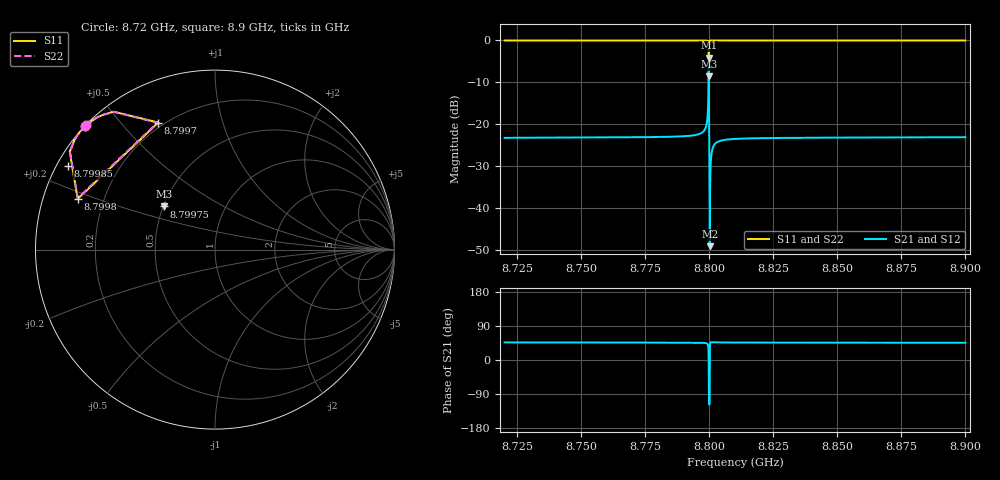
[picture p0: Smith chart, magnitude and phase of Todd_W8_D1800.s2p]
! Sonnet Data File
! From: emgraph Version : 16.52
! From Project: transmon_brgOdd
! Data is De-embedded
! Data File Written: 11/11/2017 22:28:47
!< HDATE 11/11/2017 18:22:48
!< MDATE 11/11/2017 18:22:48
!< PARAMS
!< Lj = 15.24
!< Gap = 6.0
!< Width = 10.0
!< Airgap = 6.0
!< Pwidth = 2000.0
!< Dist = 1800.0
!< END PARAMS
# GHZ S MA R 34.67000
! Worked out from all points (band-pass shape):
!   3601 points, 8.72 GHz to 8.9 GHz, reference 34.67 ohm
!   highest |S21| = -4.10 dB at 8.79975 GHz (marker M1); lowest = -49.2 dB at 8.80015 GHz (marker M2)
!   |S21| within 3 dB of the highest: 8.799697 GHz to 8.799781 GHz (84.34 kHz wide, 0.000958 % of centre)
!   lowest |S11| = -8.6 dB at 8.79975 GHz (marker M3), VSWR 2.19, Z = 17.5 + j9.75 ohm
!   |S11| at or under -10 dB: nowhere
!   |S22| runs from -8.4 to 0.0 dB; largest |S21 - S12| = 0
!   S11 on the Smith chart (normalised r, x): 8.72 GHz: 0.00, +0.40; 8.7997 GHz: 0.18, +0.63; 8.79975 GHz: 0.50, +0.28; 8.7998 GHz: 0.10, +0.18; 8.79985 GHz: 0.03, +0.26; 8.9 GHz: 0.00, +0.41
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8.72  0.9977 136.4  0.06845 46.4  0.06845 46.4  0.9977 136.4
!< P1 F=8.72 Eeff=(5.13609477 -5.6761e-5) Z0=(34.6490765 -9.5162e-5) R=0.0 C=0.0
!< P2 F=8.72 Eeff=(5.13609477 -5.6761e-5) Z0=(34.6490765 -9.5162e-5) R=0.0 C=0.0
8.75  0.9976 136.2  0.06895 46.2  0.06895 46.2  0.9976 136.2
8.78  0.9975 136.0  0.07007 46.0  0.07007 46.0  0.9975 136.0
8.7963  0.997 135.6  0.07659 45.5  0.07659 45.5  0.997 135.6
8.7982  0.9961 135.0  0.08605 44.9  0.08605 44.9  0.9961 135.0
8.7986  0.9954 134.7  0.09199 44.5  0.09199 44.5  0.9954 134.7
8.799  0.9938 134.0  0.1042 43.6  0.1042 43.6  0.9938 134.0
8.79915  0.9924 133.5  0.113 42.9  0.113 42.9  0.9924 133.5
8.7994  0.9861 131.7  0.1438 40.3  0.1438 40.3  0.9861 131.7
8.7997  0.7751 114.0  0.452 8.2  0.452 8.2  0.7765 114.3
8.79975  0.3732 139.9  0.6234 -40.0  0.6234 -40.0  0.38 139.8
8.7998  0.8156 159.8  0.3589 -89.9  0.3589 -89.9  0.8169 159.4
8.79985  0.9439 150.4  0.1845 -107.3  0.1845 -107.3  0.9443 150.2
8.80015  0.9973 139.8  0.003469 -1.1  0.003469 -1.1  0.9973 139.8
8.80065  0.9987 137.7  0.03924 46.9  0.03924 46.9  0.9987 137.7
8.8009  0.9986 137.3  0.0457 46.9  0.0457 46.9  0.9986 137.3
8.8014  0.9984 136.9  0.05275 46.8  0.05275 46.8  0.9984 136.9
8.8025  0.9982 136.6  0.05924 46.5  0.05924 46.5  0.9982 136.5
8.81  0.9978 136.1  0.06641 46.1  0.06641 46.1  0.9978 136.1
8.84  0.9976 135.8  0.06865 45.8  0.06865 45.8  0.9976 135.8
8.87  0.9976 135.7  0.06924 45.7  0.06924 45.7  0.9976 135.7
8.9  0.9976 135.5  0.06965 45.5  0.06965 45.5  0.9976 135.5
